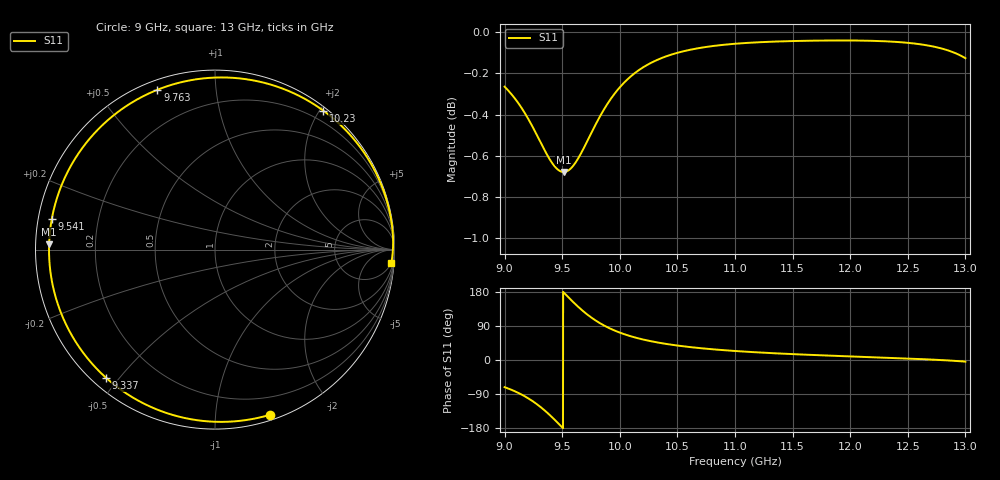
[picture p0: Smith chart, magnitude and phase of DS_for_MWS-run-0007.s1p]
! TOUCHSTONE file generated by CST DESIGN STUDIO
! Date and time: Tue Feb  4 16:22:56 2025
! Project name: C:\Work\MatlabApps\UnitCellOptimizationMatlab\CST\unitcell.cst
! Tree item: Tasks\Sweep1\SPara1\S-Parameters
! Header version: 2024
! Port assignment regex: !\s*Touchstone port\s*([0-9]+)\s*=\s*(CST MWS port|CST DES external port|CST DES block port)\s*(.+)\s* \(\"(.*)\"\)(\s*mode\s*([0-9]+))?.*
! Touchstone port assignment:
! Touchstone port 1 = CST DES external port 1 ("")
# GHz S MA R 50
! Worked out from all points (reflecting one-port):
!   4001 points, 9 GHz to 13 GHz, reference 50 ohm
!   lowest |S11| = -0.7 dB at 9.513 GHz (marker M1), VSWR 25.59, Z = 1.95 + j0.808 ohm
!   phase of S11 starts at -72 deg and turns -293 deg over the sweep
!   S11 on the Smith chart (normalised r, x): 9 GHz: 0.04, -1.38; 9.337 GHz: 0.04, -0.46; 9.541 GHz: 0.04, +0.09; 9.763 GHz: 0.04, +0.70; 10.23 GHz: 0.05, +2.05; 13 GHz: 5, -26
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9  0.97 -71.7
9.093  0.9633 -83.1
9.197  0.9536 -99.7
9.27  0.9453 -114.3
9.337  0.9373 -130.3
9.381  0.9325 -142.1
9.426  0.9283 -155.1
9.464  0.926 -166.6
9.5  0.9249 -177.8
9.513  0.9248 178.1
9.541  0.9252 169.4
9.594  0.9279 153.3
9.655  0.9336 136.0
9.708  0.9397 122.4
9.763  0.9465 109.8
9.811  0.9521 100.2
9.865  0.958 90.8
10  0.9697 72.3
10.109  0.9764 61.4
10.232  0.9817 52.0
10.356  0.9855 44.7
10.5  0.9886 38.1
10.721  0.9916 30.6
11  0.9936 23.8
11.5  0.9951 15.5
12  0.9954 9.5
12.5  0.9941 3.9
13  0.9856 -4.3
